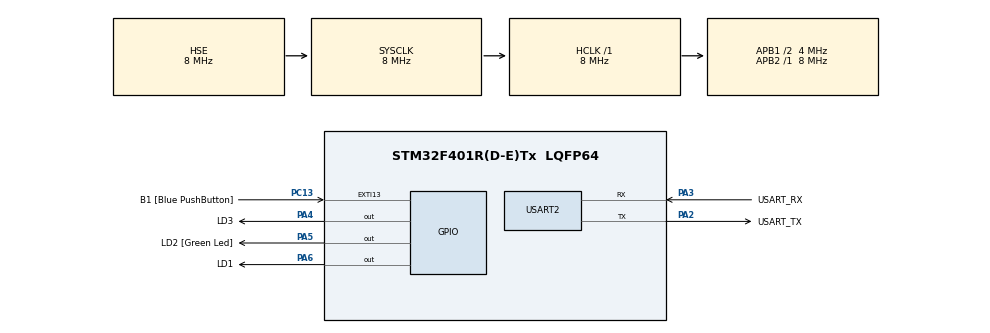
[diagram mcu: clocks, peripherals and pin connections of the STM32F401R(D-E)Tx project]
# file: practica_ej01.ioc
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Mcu.Family=STM32F4
Mcu.Name=STM32F401R(D-E)Tx
Mcu.Package=LQFP64
NVIC.EXTI15_10_IRQn=true\:0\:0\:false\:false\:true\:true\:true\:true
NVIC.PriorityGroup=NVIC_PRIORITYGROUP_0
PA13.GPIO_Label=TMS
PA13.Mode=Serial_Wire
PA13.Signal=SYS_JTMS-SWDIO
PA14.GPIO_Label=TCK
PA14.Mode=Serial_Wire
PA14.Signal=SYS_JTCK-SWCLK
PA2.GPIO_Label=USART_TX
PA2.GPIO_Mode=GPIO_MODE_AF_PP
PA2.GPIO_PuPd=GPIO_NOPULL
PA2.GPIO_Speed=GPIO_SPEED_FREQ_LOW
PA2.Mode=Asynchronous
PA2.Signal=USART2_TX
PA3.GPIO_Label=USART_RX
PA3.GPIO_Mode=GPIO_MODE_AF_PP
PA3.GPIO_PuPd=GPIO_NOPULL
PA3.GPIO_Speed=GPIO_SPEED_FREQ_LOW
PA3.Mode=Asynchronous
PA3.Signal=USART2_RX
PA4.GPIO_Label=LD3
PA4.Signal=GPIO_Output
PA5.GPIO_Label=LD2 [Green Led]
PA5.GPIO_Mode=GPIO_MODE_OUTPUT_PP
PA5.GPIO_PuPd=GPIO_NOPULL
PA5.GPIO_Speed=GPIO_SPEED_FREQ_LOW
PA5.Signal=GPIO_Output
PA6.GPIO_Label=LD1
PA6.Signal=GPIO_Output
PB3.GPIO_Label=SWO
PB3.Signal=SYS_JTDO-SWO
PC13-ANTI_TAMP.GPIO_Label=B1 [Blue PushButton]
PC13-ANTI_TAMP.GPIO_ModeDefaultEXTI=GPIO_MODE_IT_FALLING
PC13-ANTI_TAMP.GPIO_PuPd=GPIO_NOPULL
PC13-ANTI_TAMP.Signal=GPXTI13
PC14-OSC32_IN.Signal=RCC_OSC32_IN
PC15-OSC32_OUT.Signal=RCC_OSC32_OUT
PH0\ -\ OSC_IN.Mode=HSE-External-Oscillator
PH0\ -\ OSC_IN.Signal=RCC_OSC_IN
PH1\ -\ OSC_OUT.Mode=HSE-External-Oscillator
PH1\ -\ OSC_OUT.Signal=RCC_OSC_OUT
ProjectManager.HeapSize=0x200
ProjectManager.StackSize=0x400
ProjectManager.TargetToolchain=STM32CubeIDE
RCC.48MHZClocksFreq_Value=14285714.285714285
RCC.AHBFreq_Value=8000000
RCC.APB1CLKDivider=RCC_HCLK_DIV2
RCC.APB1Freq_Value=4000000
RCC.APB1TimFreq_Value=8000000
RCC.APB2Freq_Value=8000000
RCC.APB2TimFreq_Value=8000000
RCC.CortexFreq_Value=8000000
RCC.HCLKFreq_Value=8000000
RCC.HSE_VALUE=8000000
RCC.HSI_VALUE=16000000
RCC.LSE_VALUE=32768
RCC.PLLM=8
RCC.PLLN=100
RCC.PLLQ=7
RCC.PLLSourceVirtual=RCC_PLLSOURCE_HSE
RCC.SYSCLKFreq_VALUE=8000000
RCC.SYSCLKSource=RCC_SYSCLKSOURCE_HSE
RCC.VCOOutputFreq_Value=100000000
USART2.VirtualMode=VM_ASYNC
board=NUCLEO-F401RE

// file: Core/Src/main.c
/* USER CODE BEGIN Header */
/**
  ******************************************************************************
  * @file           : main.c
  * @brief          : Main program body
  ******************************************************************************
  * @attention
  *
  * Copyright (c) 2024 STMicroelectronics.
  * All rights reserved.
  *
  * This software is licensed under terms that can be found in the LICENSE file
  * in the root directory of this software component.
  * If no LICENSE file comes with this software, it is provided AS-IS.
  *
  ******************************************************************************
  */
/* USER CODE END Header */
#include "main.h"

/* USER CODE BEGIN Includes */
#include <stdbool.h>
/* USER CODE END Includes */

/* USER CODE BEGIN PD */
#define SEQ_1 0,1,2
#define SEQ_2 0,2,1
#define LED_ARRAY_LENGTH 3
#define TIME_ON 200
#define TIME_OFF 200
/* USER CODE END PD */

UART_HandleTypeDef huart2;

void SystemClock_Config(void);
static void MX_GPIO_Init(void);
static void MX_USART2_UART_Init(void);

/* USER CODE BEGIN 0 */
bool _B1_Interrupt_flag = false;

/* USER CODE END 0 */

int main(void)
{

  /* MCU Configuration--------------------------------------------------------*/

  /* Reset of all peripherals, Initializes the Flash interface and the Systick. */
  HAL_Init();

  /* Configure the system clock */
  SystemClock_Config();

  /* Initialize all configured peripherals */
  MX_GPIO_Init();
  MX_USART2_UART_Init();

  /* Infinite loop */
  /* USER CODE BEGIN WHILE */
  uint16_t LED_Array [LED_ARRAY_LENGTH] = {
  		LD1_Pin,
  		LD2_Pin,
  		LD3_Pin
  };
  const uint32_t ledArrayLength = sizeof(LED_Array)/sizeof(uint16_t);

  // Arreglo de secuencias
  uint32_t sequences[][LED_ARRAY_LENGTH] = {
      { SEQ_1 },
      { SEQ_2 }
  };
  uint8_t currentSequence = 0;
  uint32_t *sequence = sequences[currentSequence];
  while (1)
  {

	  for (uint32_t i = 0; i < ledArrayLength; i ++){

		  sequence = sequences[currentSequence];
		  if (_B1_Interrupt_flag){
			  currentSequence = (currentSequence + 1) % (sizeof(sequences) / sizeof(sequences[i]));
			  _B1_Interrupt_flag = false;
		  }

		  HAL_GPIO_WritePin(GPIOA, LED_Array[sequence[i]], GPIO_PIN_SET);
		  HAL_Delay(TIME_ON);
		  HAL_GPIO_WritePin(GPIOA, LED_Array[sequence[i]], GPIO_PIN_RESET);
		  HAL_Delay(TIME_OFF);
	  }

    /* USER CODE END WHILE */

  }
}

void SystemClock_Config(void)
{
  RCC_OscInitTypeDef RCC_OscInitStruct = {0};
  RCC_ClkInitTypeDef RCC_ClkInitStruct = {0};

  /** Configure the main internal regulator output voltage
  */
  __HAL_RCC_PWR_CLK_ENABLE();
  __HAL_PWR_VOLTAGESCALING_CONFIG(PWR_REGULATOR_VOLTAGE_SCALE2);

  /** Initializes the RCC Oscillators according to the specified parameters
  * in the RCC_OscInitTypeDef structure.
  */
  RCC_OscInitStruct.OscillatorType = RCC_OSCILLATORTYPE_HSE;
  RCC_OscInitStruct.HSEState = RCC_HSE_ON;
  RCC_OscInitStruct.PLL.PLLState = RCC_PLL_NONE;
  if (HAL_RCC_OscConfig(&RCC_OscInitStruct) != HAL_OK)
  {
    Error_Handler();
  }

  /** Initializes the CPU, AHB and APB buses clocks
  */
  RCC_ClkInitStruct.ClockType = RCC_CLOCKTYPE_HCLK|RCC_CLOCKTYPE_SYSCLK
                              |RCC_CLOCKTYPE_PCLK1|RCC_CLOCKTYPE_PCLK2;
  RCC_ClkInitStruct.SYSCLKSource = RCC_SYSCLKSOURCE_HSE;
  RCC_ClkInitStruct.AHBCLKDivider = RCC_SYSCLK_DIV1;
  RCC_ClkInitStruct.APB1CLKDivider = RCC_HCLK_DIV2;
  RCC_ClkInitStruct.APB2CLKDivider = RCC_HCLK_DIV1;

  if (HAL_RCC_ClockConfig(&RCC_ClkInitStruct, FLASH_LATENCY_0) != HAL_OK)
  {
    Error_Handler();
  }
}

static void MX_USART2_UART_Init(void)
{

  huart2.Instance = USART2;
  huart2.Init.BaudRate = 115200;
  huart2.Init.WordLength = UART_WORDLENGTH_8B;
  huart2.Init.StopBits = UART_STOPBITS_1;
  huart2.Init.Parity = UART_PARITY_NONE;
  huart2.Init.Mode = UART_MODE_TX_RX;
  huart2.Init.HwFlowCtl = UART_HWCONTROL_NONE;
  huart2.Init.OverSampling = UART_OVERSAMPLING_16;
  if (HAL_UART_Init(&huart2) != HAL_OK)
  {
    Error_Handler();
  }

}

static void MX_GPIO_Init(void)
{
  GPIO_InitTypeDef GPIO_InitStruct = {0};

  /* GPIO Ports Clock Enable */
  __HAL_RCC_GPIOC_CLK_ENABLE();
  __HAL_RCC_GPIOH_CLK_ENABLE();
  __HAL_RCC_GPIOA_CLK_ENABLE();
  __HAL_RCC_GPIOB_CLK_ENABLE();

  /*Configure GPIO pin Output Level */
  HAL_GPIO_WritePin(GPIOA, LD3_Pin|LD2_Pin|LD1_Pin, GPIO_PIN_RESET);

  /*Configure GPIO pin : B1_Pin */
  GPIO_InitStruct.Pin = B1_Pin;
  GPIO_InitStruct.Mode = GPIO_MODE_IT_FALLING;
  GPIO_InitStruct.Pull = GPIO_NOPULL;
  HAL_GPIO_Init(B1_GPIO_Port, &GPIO_InitStruct);

  /*Configure GPIO pins : LD3_Pin LD2_Pin LD1_Pin */
  GPIO_InitStruct.Pin = LD3_Pin|LD2_Pin|LD1_Pin;
  GPIO_InitStruct.Mode = GPIO_MODE_OUTPUT_PP;
  GPIO_InitStruct.Pull = GPIO_NOPULL;
  GPIO_InitStruct.Speed = GPIO_SPEED_FREQ_LOW;
  HAL_GPIO_Init(GPIOA, &GPIO_InitStruct);

  /* EXTI interrupt init*/
  HAL_NVIC_SetPriority(EXTI15_10_IRQn, 0, 0);
  HAL_NVIC_EnableIRQ(EXTI15_10_IRQn);

}

/* USER CODE BEGIN 4 */
void HAL_GPIO_EXTI_Callback(uint16_t GPIO_Pin)
{
  if(GPIO_Pin == B1_Pin) {
	  _B1_Interrupt_flag = true;
  } else {
      __NOP();
  }
}
/* USER CODE END 4 */

void Error_Handler(void)
{
  __disable_irq();
  while (1)
  {
  }
}
